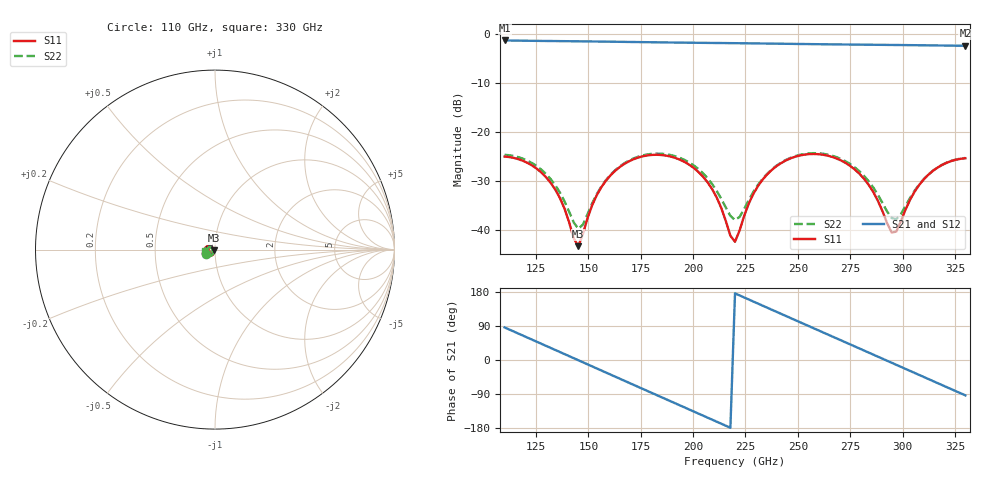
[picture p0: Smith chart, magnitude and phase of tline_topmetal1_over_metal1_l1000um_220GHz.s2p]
#  GHZ S DB R 50
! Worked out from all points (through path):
!   101 points, 110 GHz to 330 GHz, reference 50 ohm
!   highest |S21| = -1.30 dB at 110 GHz (marker M1); lowest = -2.4 dB at 330 GHz (marker M2)
!   group delay of S21, straight-line fit = 6.81 ps
!   lowest |S11| = -43.4 dB at 145.2 GHz (marker M3), VSWR 1.01, Z = 49.4 - j0.296 ohm
!   |S11| at or under -10 dB: start of sweep to end of sweep
!   |S22| runs from -39.8 to -24.4 dB; largest |S21 - S12| = 1.4e-13
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110  -25.07 -157.8  -1.30 85.9  -1.30 85.9  -24.71 -153.8
121  -26.38 176.9  -1.36 58.9  -1.36 58.9  -25.92 -178.1
132  -30.44 155.1  -1.42 31.8  -1.42 31.8  -29.68 162.3
145.2  -43.41 -153.7  -1.48 -0.6  -1.48 -0.6  -39.85 -160.6
147.4  -40.91 -123.3  -1.49 -6.0  -1.49 -6.0  -38.99 -137.0
154  -32.97 -108.3  -1.52 -22.3  -1.52 -22.3  -32.76 -114.0
160.6  -28.89 -117.5  -1.55 -38.5  -1.55 -38.5  -28.77 -119.4
173.8  -25.26 -144.8  -1.63 -71.0  -1.63 -71.0  -25.09 -143.6
184.8  -24.74 -169.1  -1.69 -97.9  -1.69 -97.9  -24.48 -166.3
204.6  -29.12 150.4  -1.79 -146.4  -1.79 -146.4  -28.43 157.4
211.2  -33.39 143.0  -1.82 -162.6  -1.82 -162.6  -32.04 153.3
220  -42.50 -160.2  -1.86 175.8  -1.86 175.8  -38.06 -168.5
228.8  -32.68 -116.9  -1.90 154.2  -1.90 154.2  -32.27 -127.3
235.4  -28.70 -125.1  -1.93 138.0  -1.93 138.0  -28.56 -130.7
246.4  -25.45 -146.4  -1.99 111.1  -1.99 111.1  -25.34 -148.5
257.4  -24.53 -169.7  -2.06 84.2  -2.06 84.2  -24.37 -169.8
279.4  -28.58 147.0  -2.16 30.4  -2.16 30.4  -28.08 150.7
286  -32.31 140.0  -2.18 14.3  -2.18 14.3  -31.38 145.5
294.8  -40.64 174.7  -2.22 -7.3  -2.22 -7.3  -37.65 172.9
299.2  -38.30 -139.7  -2.24 -18.0  -2.24 -18.0  -36.84 -152.8
312.4  -28.75 -135.5  -2.30 -50.4  -2.30 -50.4  -28.71 -140.0
330  -25.41 -168.2  -2.39 -93.4  -2.39 -93.4  -25.35 -169.3
